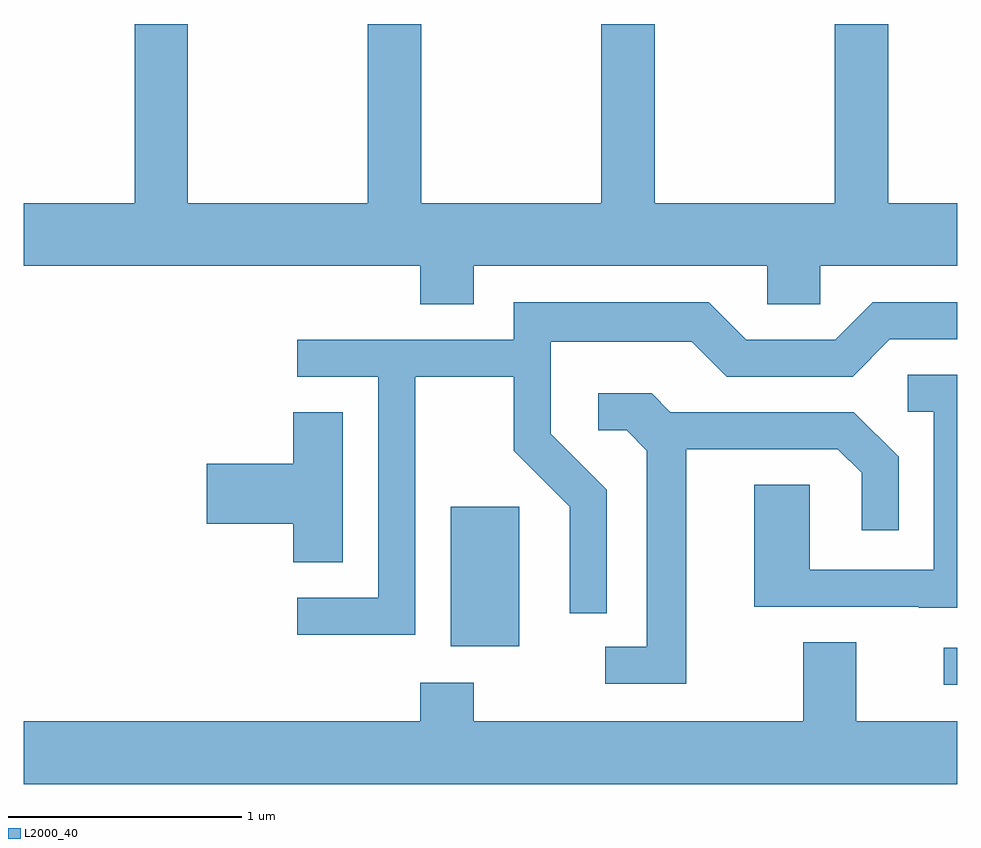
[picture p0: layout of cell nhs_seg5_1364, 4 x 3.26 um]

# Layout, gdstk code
import gdstk
lib = gdstk.Library(unit=1e-6, precision=1e-09)
def R(c, l, rs):  # rectangles x0, y0, x1, y1
    for r in rs: c.add(gdstk.rectangle(r[:2], r[2:], *l))
def P(c, l, *ps):  # polygons
    for p in ps: c.add(gdstk.Polygon(p, *l))
L2000_40 = (2000, 40)

nhs_seg5_1364 = lib.new_cell('nhs_seg5_1364')
R(nhs_seg5_1364, L2000_40, [(229.553,1437.241,229.611,1437.399), (227.441,1437.406,227.734,1438.004)])
P(nhs_seg5_1364, L2000_40, [(227.539,1439.036),(228.796,1439.036),(228.796,1438.871),(229.024,1438.871),(229.024,1439.036),(229.611,1439.036),(229.611,1439.304),(229.314,1439.304),(229.314,1440.072),(229.086,1440.072),(229.086,1439.304),(228.314,1439.304),(228.314,1440.072),(228.086,1440.072),(228.086,1439.304),(227.314,1439.304),(227.314,1440.072),(227.086,1440.072),(227.086,1439.304),(226.314,1439.304),(226.314,1440.072),(226.086,1440.072),(226.086,1439.304),(225.611,1439.304),(225.611,1439.036),(227.311,1439.036),(227.311,1438.871),(227.539,1438.871)],
  [(227.289,1438.561),(227.711,1438.561),(227.711,1438.244),(227.951,1438.004),(227.951,1437.548),(228.109,1437.548),(228.109,1438.077),(227.869,1438.317),(227.869,1438.711),(228.474,1438.711),(228.624,1438.561),(229.162,1438.561),(229.322,1438.721),(229.611,1438.721),(229.611,1438.879),(229.249,1438.879),(229.089,1438.719),(228.707,1438.719),(228.547,1438.879),(227.711,1438.879),(227.711,1438.719),(226.783,1438.719),(226.783,1438.561),(227.131,1438.561),(227.131,1437.614),(226.783,1437.614),(226.783,1437.456),(227.289,1437.456)],
  [(229.611,1438.569),(229.398,1438.569),(229.398,1438.411),(229.511,1438.411),(229.511,1437.734),(228.979,1437.734),(228.979,1438.099),(228.741,1438.099),(228.741,1437.576),(229.445,1437.576),(229.445,1437.571),(229.611,1437.571)],
  [(228.449,1438.251),(229.099,1438.251),(229.201,1438.149),(229.201,1437.903),(229.359,1437.903),(229.359,1438.217),(229.167,1438.409),(228.382,1438.409),(228.302,1438.489),(228.073,1438.489),(228.073,1438.331),(228.194,1438.331),(228.281,1438.244),(228.281,1437.404),(228.103,1437.404),(228.103,1437.246),(228.449,1437.246)],
  [(226.979,1438.409),(226.766,1438.409),(226.766,1438.189),(226.396,1438.189),(226.396,1437.931),(226.766,1437.931),(226.766,1437.766),(226.979,1437.766)],
  [(229.611,1437.084),(229.179,1437.084),(229.179,1437.424),(228.951,1437.424),(228.951,1437.084),(227.539,1437.084),(227.539,1437.249),(227.311,1437.249),(227.311,1437.084),(225.611,1437.084),(225.611,1436.816),(229.611,1436.816)])

lib.write_gds('nhs_seg5_1364.gds')
